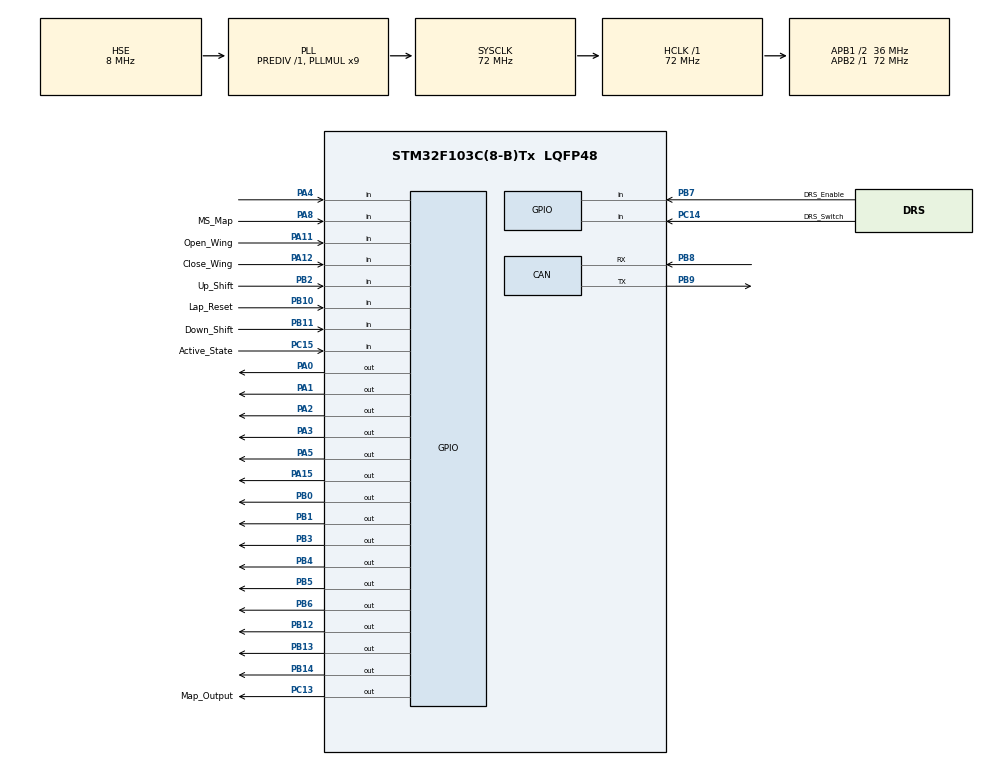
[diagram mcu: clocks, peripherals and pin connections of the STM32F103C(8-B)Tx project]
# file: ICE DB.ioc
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CAN.CalculateTimeBit=1333
CAN.CalculateTimeQuantum=444.44444444444446
Mcu.Family=STM32F1
Mcu.Name=STM32F103C(8-B)Tx
Mcu.Package=LQFP48
NVIC.PriorityGroup=NVIC_PRIORITYGROUP_4
PA0-WKUP.Signal=GPIO_Output
PA1.Signal=GPIO_Output
PA11.GPIO_Label=Open_Wing
PA11.Signal=GPIO_Input
PA12.GPIO_Label=Close_Wing
PA12.Signal=GPIO_Input
PA13.Mode=Serial_Wire
PA13.Signal=SYS_JTMS-SWDIO
PA14.Mode=Serial_Wire
PA14.Signal=SYS_JTCK-SWCLK
PA15.Signal=GPIO_Output
PA2.Signal=GPIO_Output
PA3.Signal=GPIO_Output
PA4.Signal=GPIO_Input
PA5.Signal=GPIO_Output
PA8.GPIO_Label=MS_Map
PA8.Signal=GPIO_Input
PB0.Signal=GPIO_Output
PB1.Signal=GPIO_Output
PB10.GPIO_Label=Lap_Reset
PB10.Signal=GPIO_Input
PB11.GPIO_Label=Down_Shift
PB11.Signal=GPIO_Input
PB12.Signal=GPIO_Output
PB13.Signal=GPIO_Output
PB14.Signal=GPIO_Output
PB2.GPIO_Label=Up_Shift
PB2.Signal=GPIO_Input
PB3.Signal=GPIO_Output
PB4.Signal=GPIO_Output
PB5.Signal=GPIO_Output
PB6.Signal=GPIO_Output
PB7.GPIO_Label=DRS_Enable
PB7.Signal=GPIO_Input
PB8.Mode=Master
PB8.Signal=CAN_RX
PB9.Mode=Master
PB9.Signal=CAN_TX
PC13-TAMPER-RTC.GPIO_Label=Map_Output
PC13-TAMPER-RTC.Signal=GPIO_Output
PC14-OSC32_IN.GPIO_Label=DRS_Switch
PC14-OSC32_IN.Signal=GPIO_Input
PC15-OSC32_OUT.GPIO_Label=Active_State
PC15-OSC32_OUT.Signal=GPIO_Input
PD0-OSC_IN.Mode=HSE-External-Oscillator
PD0-OSC_IN.Signal=RCC_OSC_IN
PD1-OSC_OUT.Mode=HSE-External-Oscillator
PD1-OSC_OUT.Signal=RCC_OSC_OUT
ProjectManager.HeapSize=0x200
ProjectManager.StackSize=0x400
ProjectManager.TargetToolchain=TrueSTUDIO
RCC.AHBFreq_Value=72000000
RCC.APB1CLKDivider=RCC_HCLK_DIV2
RCC.APB1Freq_Value=36000000
RCC.APB1TimFreq_Value=72000000
RCC.APB2Freq_Value=72000000
RCC.APB2TimFreq_Value=72000000
RCC.HCLKFreq_Value=72000000
RCC.PLLMUL=RCC_PLL_MUL9
RCC.PLLSourceVirtual=RCC_PLLSOURCE_HSE
RCC.SYSCLKFreq_VALUE=72000000
RCC.SYSCLKSource=RCC_SYSCLKSOURCE_PLLCLK
RCC.USBFreq_Value=72000000
TIM1.Period=0xffff-1
TIM1.Prescaler=72-1
VP_TIM1_VS_ClockSourceINT.Mode=Internal
board=custom

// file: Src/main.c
/* USER CODE BEGIN Header */
/**
 ******************************************************************************
 * @file           : main.c
 * @brief          : Main program body
 ******************************************************************************
 * @attention
 *
 * <h2><center>&copy; Copyright (c) 2020 STMicroelectronics.
 * All rights reserved.</center></h2>
 *
 * This software component is licensed by ST under BSD 3-Clause license,
 * the "License"; You may not use this file except in compliance with the
 * License. You may obtain a copy of the License at:
 *                        opensource.org/licenses/BSD-3-Clause
 *
 ******************************************************************************
 */
/* USER CODE END Header */

#include "main.h"

/* USER CODE BEGIN Includes */
#include "tft.h"
#include "user_setting.h"
#include "functions.h"
#include "DrawingFunctions.h"
#include "SteeringWheel.h"
/* USER CODE END Includes */

CAN_HandleTypeDef hcan;

TIM_HandleTypeDef htim1;

void SystemClock_Config(void);
static void MX_GPIO_Init(void);
static void MX_CAN_Init(void);
static void MX_TIM1_Init(void);

/* USER CODE BEGIN 0 */

uint16_t ID = 0;

uint32_t ticks_num = 0;
uint32_t ticks_offset = 0;
uint8_t LapNum = 0; // controlled by push button
char lap[2];
typedef struct Time {
	uint8_t minutes;
	uint8_t seconds;
	uint16_t milliseconds;
} Time;
Time getTime(uint32_t millis) {
	uint8_t minutes;
	uint8_t seconds;
	uint16_t milliseconds;
	milliseconds = millis % 1000;
	millis /= 1000;
	seconds = millis % 60;
	millis /= 60;
	minutes = millis % 60;
	Time time = { minutes, seconds, milliseconds };
	return time;
}
void updateLapTime() {
	char buffer[9];
	Time time = getTime(ticks_num);
	sprintf(buffer, "%02d:%02d.%03d", time.minutes, time.seconds,
			time.milliseconds);
	printnewtstr(90, 260, BLACK, &mono9x7, 2, buffer);
	ticks_num = HAL_GetTick() - ticks_offset;
	time = getTime(ticks_num);
	sprintf(buffer, "%02d:%02d.%03d", time.minutes, time.seconds,
			time.milliseconds);
	printnewtstr(90, 260, RED, &mono9x7, 2, buffer);
}

void LCD_Test() {
	for (int i = 1; i <= 6; i++) {   //to be edited
		drawGear(i, 5, BLACK);
		HAL_Delay(500);
	}
	for (int i = 0; i <= 110; i += 5) {

		drawPointer(400, 305, 130, i, 8, RED);
		HAL_Delay(5);
		drawRPMSlider(BLACK);
		drawRPMValue();
		if (RPM <= 14000) {
			RPM += 100;
		} else {
			RPM -= 14000;
		}
		drawPointer(400, 305, 130, i, 8, BLACK);
	}
	for (int i = 100; i >= 0; i -= 5) {
		drawPointer(400, 305, 130, i, 8, RED);
		HAL_Delay(5);
		drawRPMSlider(BLACK);
		drawRPMValue();
		if (RPM <= 14000) {
			RPM += 100;
		} else {
			RPM -= 14000;
		}
		drawPointer(400, 305, 130, i, 8, BLACK);
	}
}

/* USER CODE END 0 */

int main(void)
{

  /* MCU Configuration--------------------------------------------------------*/

  /* Reset of all peripherals, Initializes the Flash interface and the Systick. */
  HAL_Init();

  /* Configure the system clock */
  SystemClock_Config();

  /* Initialize all configured peripherals */
  MX_GPIO_Init();
  MX_CAN_Init();
  MX_TIM1_Init();
  /* USER CODE BEGIN 2 */
	HAL_TIM_Base_Start(&htim1);
	// Reading ID
	ID = readID();
	HAL_Delay(100);
	tft_init(ID);

	setRotation(1); // Landscape View

	ShowIntroScreen(RED); // ASU RACING TEAM Intro Screen

	fillScreen(BLACK); // Erase Screen

	drawGear(Old_Gear_Number, 5, BLACK); // Initialize Gear  "N"

	LCD_ShowScale(WHITE); // Draw Scale

	LCD_Showthrmo(GREEN); // Draw thermometer and Initialize it "Green"

	LCD_Showbatt(GREEN); // Draw Battery and Initialize it "Green"

	drawLap();

	printnewtstr(315, 140, WHITE, &mono9x7, 1, "GEAR");
	printnewtstr(105, 350, WHITE, &mono9x7, 1, "Lap Time");
	printnewtstr(130, 200, WHITE, &mono9x7, 1, "RPM");
	drawPointer(400, 305, 130, 0, 8, RED);
	drawRPMValue();
	drawRPMSlider(BLACK);
	printnewtstr(90, 292, RED, &mono9x7, 2, "00:00:00");
	itoa(LapNum, lap, 10);
	printnewtstr(50 + 55, 10, RED, &mono12x7bold, 3, lap);

  /* USER CODE END 2 */

  /* Infinite loop */
	while (1) {

    /* USER CODE BEGIN 3 */
		if (LapNum > 0)
			updateLapTime();
		LCD_Test();
		Steering_Wheel_Switches();
		MSMapOut();
	}
  /* USER CODE END 3 */
}

void SystemClock_Config(void)
{
  RCC_OscInitTypeDef RCC_OscInitStruct = {0};
  RCC_ClkInitTypeDef RCC_ClkInitStruct = {0};

  /** Initializes the CPU, AHB and APB busses clocks
  */
  RCC_OscInitStruct.OscillatorType = RCC_OSCILLATORTYPE_HSE;
  RCC_OscInitStruct.HSEState = RCC_HSE_ON;
  RCC_OscInitStruct.HSEPredivValue = RCC_HSE_PREDIV_DIV1;
  RCC_OscInitStruct.HSIState = RCC_HSI_ON;
  RCC_OscInitStruct.PLL.PLLState = RCC_PLL_ON;
  RCC_OscInitStruct.PLL.PLLSource = RCC_PLLSOURCE_HSE;
  RCC_OscInitStruct.PLL.PLLMUL = RCC_PLL_MUL9;
  if (HAL_RCC_OscConfig(&RCC_OscInitStruct) != HAL_OK)
  {
    Error_Handler();
  }
  /** Initializes the CPU, AHB and APB busses clocks
  */
  RCC_ClkInitStruct.ClockType = RCC_CLOCKTYPE_HCLK|RCC_CLOCKTYPE_SYSCLK
                              |RCC_CLOCKTYPE_PCLK1|RCC_CLOCKTYPE_PCLK2;
  RCC_ClkInitStruct.SYSCLKSource = RCC_SYSCLKSOURCE_PLLCLK;
  RCC_ClkInitStruct.AHBCLKDivider = RCC_SYSCLK_DIV1;
  RCC_ClkInitStruct.APB1CLKDivider = RCC_HCLK_DIV2;
  RCC_ClkInitStruct.APB2CLKDivider = RCC_HCLK_DIV1;

  if (HAL_RCC_ClockConfig(&RCC_ClkInitStruct, FLASH_LATENCY_2) != HAL_OK)
  {
    Error_Handler();
  }
}

static void MX_CAN_Init(void)
{

  hcan.Instance = CAN1;
  hcan.Init.Prescaler = 16;
  hcan.Init.Mode = CAN_MODE_NORMAL;
  hcan.Init.SyncJumpWidth = CAN_SJW_1TQ;
  hcan.Init.TimeSeg1 = CAN_BS1_1TQ;
  hcan.Init.TimeSeg2 = CAN_BS2_1TQ;
  hcan.Init.TimeTriggeredMode = DISABLE;
  hcan.Init.AutoBusOff = DISABLE;
  hcan.Init.AutoWakeUp = DISABLE;
  hcan.Init.AutoRetransmission = DISABLE;
  hcan.Init.ReceiveFifoLocked = DISABLE;
  hcan.Init.TransmitFifoPriority = DISABLE;
  if (HAL_CAN_Init(&hcan) != HAL_OK)
  {
    Error_Handler();
  }

}

static void MX_TIM1_Init(void)
{

  TIM_ClockConfigTypeDef sClockSourceConfig = {0};
  TIM_MasterConfigTypeDef sMasterConfig = {0};

  htim1.Instance = TIM1;
  htim1.Init.Prescaler = 72-1;
  htim1.Init.CounterMode = TIM_COUNTERMODE_UP;
  htim1.Init.Period = 0xffff-1;
  htim1.Init.ClockDivision = TIM_CLOCKDIVISION_DIV1;
  htim1.Init.RepetitionCounter = 0;
  htim1.Init.AutoReloadPreload = TIM_AUTORELOAD_PRELOAD_DISABLE;
  if (HAL_TIM_Base_Init(&htim1) != HAL_OK)
  {
    Error_Handler();
  }
  sClockSourceConfig.ClockSource = TIM_CLOCKSOURCE_INTERNAL;
  if (HAL_TIM_ConfigClockSource(&htim1, &sClockSourceConfig) != HAL_OK)
  {
    Error_Handler();
  }
  sMasterConfig.MasterOutputTrigger = TIM_TRGO_RESET;
  sMasterConfig.MasterSlaveMode = TIM_MASTERSLAVEMODE_DISABLE;
  if (HAL_TIMEx_MasterConfigSynchronization(&htim1, &sMasterConfig) != HAL_OK)
  {
    Error_Handler();
  }

}

static void MX_GPIO_Init(void)
{
  GPIO_InitTypeDef GPIO_InitStruct = {0};

  /* GPIO Ports Clock Enable */
  __HAL_RCC_GPIOC_CLK_ENABLE();
  __HAL_RCC_GPIOD_CLK_ENABLE();
  __HAL_RCC_GPIOA_CLK_ENABLE();
  __HAL_RCC_GPIOB_CLK_ENABLE();

  /*Configure GPIO pin Output Level */
  HAL_GPIO_WritePin(Map_Output_GPIO_Port, Map_Output_Pin, GPIO_PIN_RESET);

  /*Configure GPIO pin Output Level */
  HAL_GPIO_WritePin(GPIOA, GPIO_PIN_0|GPIO_PIN_1|GPIO_PIN_2|GPIO_PIN_3
                          |GPIO_PIN_5|GPIO_PIN_15, GPIO_PIN_RESET);

  /*Configure GPIO pin Output Level */
  HAL_GPIO_WritePin(GPIOB, GPIO_PIN_0|GPIO_PIN_1|GPIO_PIN_12|GPIO_PIN_13
                          |GPIO_PIN_14|GPIO_PIN_3|GPIO_PIN_4|GPIO_PIN_5
                          |GPIO_PIN_6, GPIO_PIN_RESET);

  /*Configure GPIO pin : Map_Output_Pin */
  GPIO_InitStruct.Pin = Map_Output_Pin;
  GPIO_InitStruct.Mode = GPIO_MODE_OUTPUT_PP;
  GPIO_InitStruct.Pull = GPIO_NOPULL;
  GPIO_InitStruct.Speed = GPIO_SPEED_FREQ_LOW;
  HAL_GPIO_Init(Map_Output_GPIO_Port, &GPIO_InitStruct);

  /*Configure GPIO pins : DRS_Switch_Pin Active_State_Pin */
  GPIO_InitStruct.Pin = DRS_Switch_Pin|Active_State_Pin;
  GPIO_InitStruct.Mode = GPIO_MODE_INPUT;
  GPIO_InitStruct.Pull = GPIO_NOPULL;
  HAL_GPIO_Init(GPIOC, &GPIO_InitStruct);

  /*Configure GPIO pins : PA0 PA1 PA2 PA3
                           PA5 PA15 */
  GPIO_InitStruct.Pin = GPIO_PIN_0|GPIO_PIN_1|GPIO_PIN_2|GPIO_PIN_3
                          |GPIO_PIN_5|GPIO_PIN_15;
  GPIO_InitStruct.Mode = GPIO_MODE_OUTPUT_PP;
  GPIO_InitStruct.Pull = GPIO_NOPULL;
  GPIO_InitStruct.Speed = GPIO_SPEED_FREQ_LOW;
  HAL_GPIO_Init(GPIOA, &GPIO_InitStruct);

  /*Configure GPIO pins : PA4 MS_Map_Pin Open_Wing_Pin Close_Wing_Pin */
  GPIO_InitStruct.Pin = GPIO_PIN_4|MS_Map_Pin|Open_Wing_Pin|Close_Wing_Pin;
  GPIO_InitStruct.Mode = GPIO_MODE_INPUT;
  GPIO_InitStruct.Pull = GPIO_NOPULL;
  HAL_GPIO_Init(GPIOA, &GPIO_InitStruct);

  /*Configure GPIO pins : PB0 PB1 PB12 PB13
                           PB14 PB3 PB4 PB5
                           PB6 */
  GPIO_InitStruct.Pin = GPIO_PIN_0|GPIO_PIN_1|GPIO_PIN_12|GPIO_PIN_13
                          |GPIO_PIN_14|GPIO_PIN_3|GPIO_PIN_4|GPIO_PIN_5
                          |GPIO_PIN_6;
  GPIO_InitStruct.Mode = GPIO_MODE_OUTPUT_PP;
  GPIO_InitStruct.Pull = GPIO_NOPULL;
  GPIO_InitStruct.Speed = GPIO_SPEED_FREQ_LOW;
  HAL_GPIO_Init(GPIOB, &GPIO_InitStruct);

  /*Configure GPIO pins : Up_Shift_Pin Lap_Reset_Pin Down_Shift_Pin DRS_Enable_Pin */
  GPIO_InitStruct.Pin = Up_Shift_Pin|Lap_Reset_Pin|Down_Shift_Pin|DRS_Enable_Pin;
  GPIO_InitStruct.Mode = GPIO_MODE_INPUT;
  GPIO_InitStruct.Pull = GPIO_NOPULL;
  HAL_GPIO_Init(GPIOB, &GPIO_InitStruct);

}

void Error_Handler(void)
{
}

/************************ (C) COPYRIGHT STMicroelectronics *****END OF FILE****/
